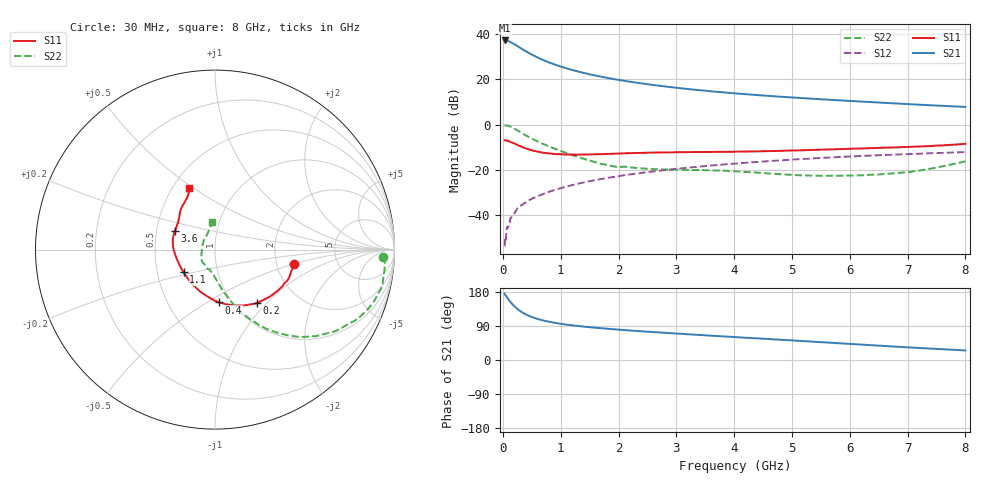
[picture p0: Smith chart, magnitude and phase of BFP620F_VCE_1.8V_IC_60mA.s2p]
! Infineon Technologies  Discrete & RF Semiconductors
! BFP620F
! VCE =  1.8 V,  IC =  60 mA
! Common Emitter S-Parameters:  Dec 2014
# GHz  S  MA  R  50
!  f  S11  S21  S12  S22
! GHz  MAG  ANG  MAG  ANG  MAG  ANG  MAG  ANG
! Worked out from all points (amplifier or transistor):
!   95 points, 30 MHz to 8 GHz, reference 50 ohm
!   highest |S21| = 37.3 dB at 40 MHz (marker M1)
!   |S21| within 3 dB of that: start of sweep to 282.8 MHz
!   unconditionally stable (mu >= 1): 1.772 GHz to end of sweep
!   at 300 MHz: K = 0.53, MSG = 35.1 dB, |S12| = -36.2 dB
!   at 3.3 GHz: K = 1.03, MAG = 16.1 dB, |S12| = -18.9 dB
!   at 8 GHz: K = 1.05, MAG = 8.6 dB, |S12| = -12.2 dB
!   S11 on the Smith chart (normalised r, x): 30 MHz: 2.51, -0.49; 200 MHz: 1.26, -0.88; 400 MHz: 0.88, -0.56; 1.1 GHz: 0.68, -0.18; 3.6 GHz: 0.62, +0.14; 8 GHz: 0.60, +0.48
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0.03  0.4483 -10.0  73.18 174.6  0.002 112.9  0.9381 -2.4
0.04  0.4486 -12.7  73.22 172.3  0.0029 86.8  0.9498 -4.6
0.07  0.4407 -20.9  72.43 165.6  0.0053 90.1  0.9528 -11.3
0.11  0.4212 -31.4  69.32 157.1  0.0067 83.1  0.9239 -19.5
0.15  0.4015 -41.1  65.58 149.8  0.0088 77.9  0.8774 -26.6
0.2  0.3786 -52.1  60.21 141.7  0.0108 74.5  0.8104 -34.1
0.25  0.3525 -61.8  55.06 134.8  0.0137 74.5  0.7434 -40.4
0.3  0.3306 -70.3  50.21 129.1  0.0154 72.1  0.68 -45.8
0.4  0.295 -85.7  41.97 120.1  0.0189 69.9  0.571 -53.8
0.5  0.2677 -97.6  35.58 113.5  0.0225 70.3  0.4882 -59.6
0.6  0.2498 -108.5  30.67 108.3  0.0256 70.6  0.4209 -64.2
0.7  0.2364 -117.4  26.86 104.2  0.0288 70.2  0.3688 -68.0
0.9  0.2212 -132.3  21.33 98.0  0.0354 70.6  0.2893 -74.0
1.1  0.2151 -144.2  17.61 93.4  0.0419 70.2  0.2325 -79.2
1.4  0.2162 -157.8  13.93 88.1  0.0519 69.4  0.1736 -86.5
1.9  0.2243 -174.0  10.29 81.4  0.0683 67.5  0.1186 -102.5
2.7  0.2396 169.1  7.254 72.8  0.0942 63.1  0.1013 -125.8
3.6  0.2463 155.0  5.462 64.2  0.1228 57.6  0.0963 -140.1
4.1  0.2503 148.4  4.812 59.7  0.1383 54.4  0.0902 -146.5
5.4  0.2738 136.4  3.699 48.0  0.1783 45.4  0.0735 -178.6
6.7  0.3082 124.8  2.975 36.1  0.213 35.7  0.0815 138.1
8  0.3723 112.8  2.458 25.2  0.2447 26.4  0.1521 96.5
